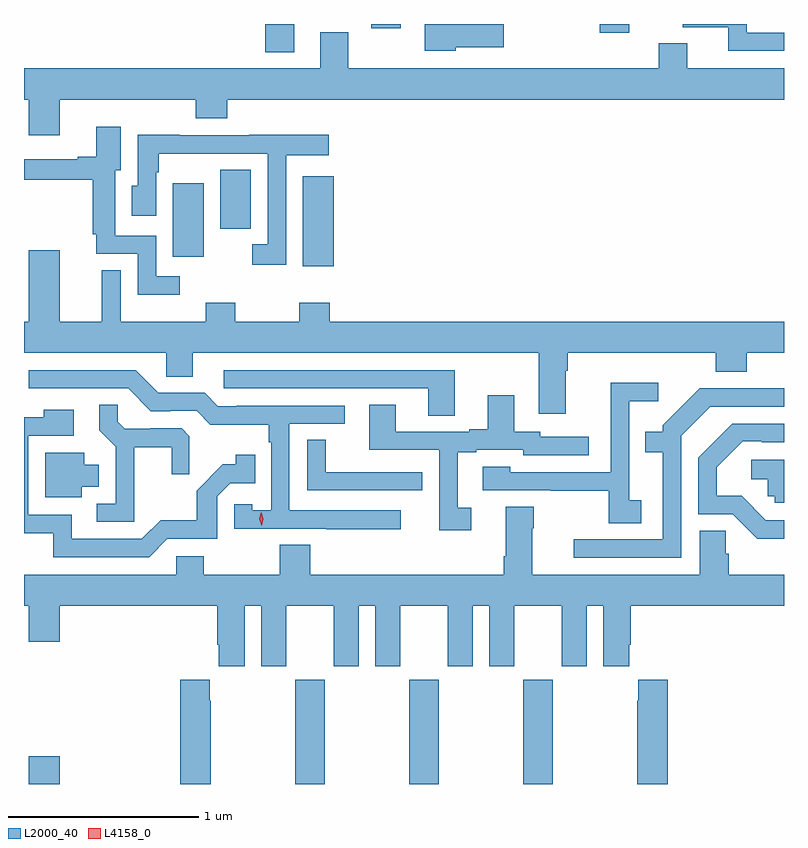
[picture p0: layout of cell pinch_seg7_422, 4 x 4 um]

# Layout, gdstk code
import gdstk
lib = gdstk.Library(unit=1e-6, precision=1e-09)
def R(c, l, rs):  # rectangles x0, y0, x1, y1
    for r in rs: c.add(gdstk.rectangle(r[:2], r[2:], *l))
def A(c, l, x, y, w, h, nx, ny, dx, dy):  # array of equal rectangles
    R(c, l, [(x+i*dx, y+j*dy, x+i*dx+w, y+j*dy+h) for i in range(nx) for j in range(ny)])
def P(c, l, *ps):  # polygons
    for p in ps: c.add(gdstk.Polygon(p, *l))
L2000_40 = (2000, 40)
L4158_0 = (4158, 0)

pinch_seg7_422 = lib.new_cell('pinch_seg7_422')
A(pinch_seg7_422, L2000_40, 334.243, 1060.95, 0.155, 0.55, 3, 1, 0.6, 0)
R(pinch_seg7_422, L2000_40, [(332.84,1060.95,333.004,1061.095), (334.283,1063.674,334.444,1064.149), (333.599,1063.724,333.76,1064.113), (333.848,1063.872,334.009,1064.183), (334.085,1064.802,334.237,1064.95), (335.846,1064.904,336,1064.95), (334.642,1064.928,334.798,1064.95)])
P(pinch_seg7_422, L2000_40, [(335.088,1064.828),(335.341,1064.828),(335.341,1064.95),(334.925,1064.95),(334.925,1064.81),(335.088,1064.81)],
  [(336.815,1064.904),(336.619,1064.904),(336.619,1064.95),(336.282,1064.95),(336.282,1064.934),(336.521,1064.934),(336.521,1064.808),(336.815,1064.808)],
  [(333.004,1064.552),(333.719,1064.552),(333.719,1064.453),(333.884,1064.453),(333.884,1064.552),(336.815,1064.552),(336.815,1064.716),(336.307,1064.716),(336.307,1064.849),(336.155,1064.849),(336.155,1064.716),(334.521,1064.716),(334.521,1064.906),(334.373,1064.906),(334.373,1064.716),(332.815,1064.716),(332.815,1064.552),(332.84,1064.552),(332.84,1064.364),(333.004,1064.364)],
  [(333.634,1063.623),(333.51,1063.623),(333.51,1063.836),(333.295,1063.836),(333.295,1064.181),(333.325,1064.181),(333.325,1064.41),(333.194,1064.41),(333.194,1064.251),(333.098,1064.251),(333.098,1064.238),(332.815,1064.238),(332.815,1064.13),(333.177,1064.13),(333.177,1063.843),(333.194,1063.843),(333.194,1063.74),(333.414,1063.74),(333.414,1063.526),(333.634,1063.526)],
  [(334.194,1064.258),(334.42,1064.258),(334.42,1064.366),(334.001,1064.366),(334.001,1064.364),(333.635,1064.364),(333.635,1064.366),(333.414,1064.366),(333.414,1064.1),(333.383,1064.1),(333.383,1063.941),(333.51,1063.941),(333.51,1064.171),(333.523,1064.171),(333.523,1064.267),(333.752,1064.267),(333.752,1064.268),(334.098,1064.268),(334.098,1063.791),(334.017,1063.791),(334.017,1063.683),(334.194,1063.683)],
  [(335.665,1063.124),(335.678,1063.124),(335.678,1063.22),(336.455,1063.22),(336.455,1063.121),(336.62,1063.121),(336.62,1063.22),(336.815,1063.22),(336.815,1063.384),(334.424,1063.384),(334.424,1063.483),(334.264,1063.483),(334.264,1063.384),(333.927,1063.384),(333.927,1063.483),(333.772,1063.483),(333.772,1063.384),(333.325,1063.384),(333.325,1063.655),(333.224,1063.655),(333.224,1063.384),(333.004,1063.384),(333.004,1063.759),(332.84,1063.759),(332.84,1063.384),(332.815,1063.384),(332.815,1063.22),(333.564,1063.22),(333.564,1063.093),(333.703,1063.093),(333.703,1063.22),(335.525,1063.22),(335.525,1062.9),(335.665,1062.9)],
  [(335.083,1063.128),(333.867,1063.128),(333.867,1063.032),(334.943,1063.032),(334.943,1062.889),(335.083,1062.889)],
  [(334.798,1062.39),(334.212,1062.39),(334.212,1062.846),(334.504,1062.846),(334.504,1062.942),(333.934,1062.942),(333.934,1062.939),(333.834,1062.939),(333.765,1063.008),(333.522,1063.008),(333.402,1063.128),(332.84,1063.128),(332.84,1063.032),(333.363,1063.032),(333.483,1062.912),(333.584,1062.912),(333.584,1062.915),(333.723,1062.915),(333.796,1062.842),(334.104,1062.842),(334.104,1062.749),(334.116,1062.749),(334.116,1062.391),(334.017,1062.391),(334.017,1062.423),(333.921,1062.423),(333.921,1062.294),(334.405,1062.294),(334.405,1062.292),(334.798,1062.292)],
  [(336.064,1062.444),(336,1062.444),(336,1062.965),(336.154,1062.965),(336.154,1063.063),(335.902,1063.063),(335.902,1062.824),(335.904,1062.824),(335.904,1062.591),(335.373,1062.591),(335.373,1062.619),(335.229,1062.619),(335.229,1062.495),(335.587,1062.495),(335.587,1062.493),(335.892,1062.493),(335.892,1062.322),(336.064,1062.322)],
  [(336.273,1062.783),(336.426,1062.936),(336.815,1062.936),(336.815,1063.034),(336.703,1063.034),(336.703,1063.032),(336.372,1063.032),(336.177,1062.837),(336.177,1062.805),(336.085,1062.805),(336.085,1062.696),(336.176,1062.696),(336.176,1062.237),(335.709,1062.237),(335.709,1062.141),(336.273,1062.141)],
  [(335.17,1062.405),(335.098,1062.405),(335.098,1062.696),(335.194,1062.696),(335.194,1062.708),(335.442,1062.708),(335.442,1062.681),(335.788,1062.681),(335.788,1062.777),(335.532,1062.777),(335.532,1062.804),(335.395,1062.804),(335.395,1062.997),(335.255,1062.997),(335.255,1062.817),(335.159,1062.817),(335.159,1062.804),(334.771,1062.804),(334.771,1062.947),(334.631,1062.947),(334.631,1062.708),(335.001,1062.708),(335.001,1062.285),(335.17,1062.285)],
  [(333.395,1062.722),(333.592,1062.722),(333.592,1062.579),(333.686,1062.579),(333.686,1062.781),(333.645,1062.822),(333.48,1062.822),(333.48,1062.819),(333.346,1062.819),(333.309,1062.856),(333.309,1062.947),(333.211,1062.947),(333.211,1062.811),(333.297,1062.725),(333.297,1062.426),(333.198,1062.426),(333.198,1062.33),(333.395,1062.33)],
  [(333.57,1062.24),(333.831,1062.24),(333.831,1062.465),(333.9,1062.534),(334.031,1062.534),(334.031,1062.682),(333.93,1062.682),(333.93,1062.632),(333.86,1062.632),(333.723,1062.494),(333.723,1062.339),(333.534,1062.339),(333.435,1062.24),(333.067,1062.24),(333.067,1062.366),(332.838,1062.366),(332.838,1062.783),(333.076,1062.783),(333.076,1062.919),(332.92,1062.919),(332.92,1062.879),(332.815,1062.879),(332.815,1062.27),(332.969,1062.27),(332.969,1062.144),(333.474,1062.144)],
  [(336.815,1062.339),(336.72,1062.339),(336.593,1062.466),(336.46,1062.466),(336.46,1062.616),(336.597,1062.753),(336.697,1062.753),(336.697,1062.75),(336.815,1062.75),(336.815,1062.846),(336.542,1062.846),(336.363,1062.667),(336.363,1062.369),(336.546,1062.369),(336.674,1062.242),(336.815,1062.242)],
  [(334.912,1062.59),(334.799,1062.59),(334.799,1062.591),(334.404,1062.591),(334.404,1062.761),(334.305,1062.761),(334.305,1062.495),(334.912,1062.495)],
  [(333.118,1062.515),(333.208,1062.515),(333.208,1062.631),(333.133,1062.631),(333.133,1062.694),(332.927,1062.694),(332.927,1062.458),(333.118,1062.458)],
  [(336.815,1062.657),(336.642,1062.657),(336.642,1062.554),(336.729,1062.554),(336.729,1062.465),(336.765,1062.465),(336.765,1062.429),(336.815,1062.429)],
  [(333.976,1061.888),(334.064,1061.888),(334.064,1061.571),(334.195,1061.571),(334.195,1061.888),(334.445,1061.888),(334.445,1061.571),(334.576,1061.571),(334.576,1061.888),(334.664,1061.888),(334.664,1061.571),(334.795,1061.571),(334.795,1061.888),(335.045,1061.888),(335.045,1061.571),(335.176,1061.571),(335.176,1061.888),(335.264,1061.888),(335.264,1061.571),(335.395,1061.571),(335.395,1061.888),(335.645,1061.888),(335.645,1061.571),(335.776,1061.571),(335.776,1061.888),(335.864,1061.888),(335.864,1061.571),(336.001,1061.571),(336.001,1061.683),(336.008,1061.683),(336.008,1061.888),(336.815,1061.888),(336.815,1062.052),(336.524,1062.052),(336.524,1062.162),(336.509,1062.162),(336.509,1062.284),(336.371,1062.284),(336.371,1062.052),(335.491,1062.052),(335.491,1062.296),(335.499,1062.296),(335.499,1062.409),(335.351,1062.409),(335.351,1062.148),(335.339,1062.148),(335.339,1062.052),(334.322,1062.052),(334.322,1062.209),(334.162,1062.209),(334.162,1062.052),(333.762,1062.052),(333.762,1062.15),(333.615,1062.15),(333.615,1062.052),(332.815,1062.052),(332.815,1061.888),(332.84,1061.888),(332.84,1061.7),(333.004,1061.7),(333.004,1061.888),(333.833,1061.888),(333.833,1061.683),(333.839,1061.683),(333.839,1061.571),(333.976,1061.571)],
  [(333.798,1061.387),(333.793,1061.387),(333.793,1061.5),(333.638,1061.5),(333.638,1060.95),(333.798,1060.95)],
  [(336.203,1061.5),(336.047,1061.5),(336.047,1061.387),(336.043,1061.387),(336.043,1060.95),(336.203,1060.95)])
P(pinch_seg7_422, L4158_0, [(334.065,1062.309),(334.065,1062.31),(334.054,1062.345),(334.063,1062.381),(334.063,1062.381),(334.064,1062.381),(334.074,1062.346),(334.065,1062.31)])

lib.write_gds('pinch_seg7_422.gds')
